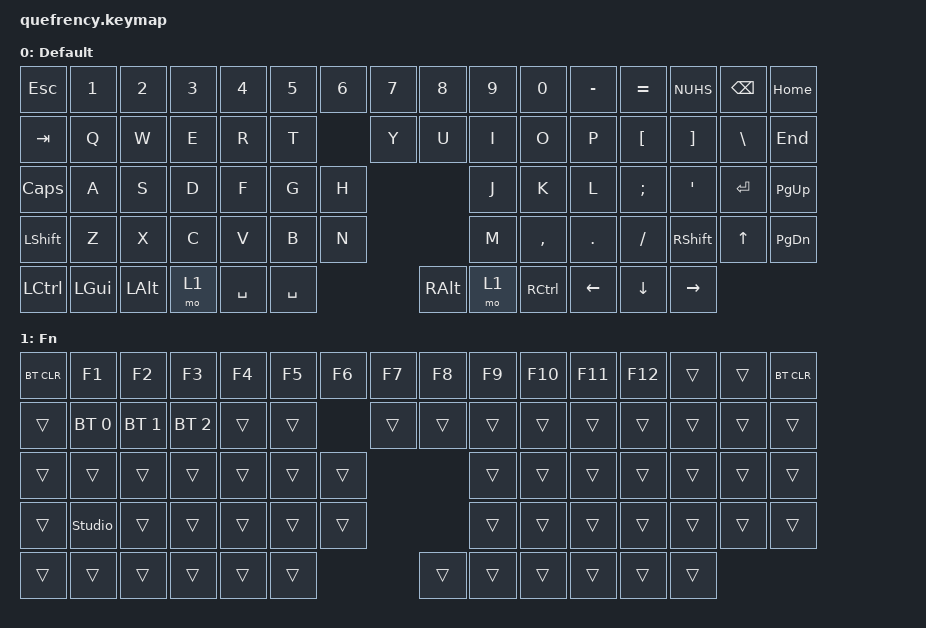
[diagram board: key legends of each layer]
/*
 * Copyright (c) 2020 The ZMK Contributors
 *
 * SPDX-License-Identifier: MIT
 */

#include <behaviors.dtsi>
#include <dt-bindings/zmk/bt.h>
#include <dt-bindings/zmk/keys.h>

/ {
    keymap {
        compatible = "zmk,keymap";

// ----------------------------------------------      -----------------------------------------------------
// | ESC  |  1   |  2  |  3   |  4  |  5  |  6  |      |  7  |  8  |  9  |  0  |  -  |  =  | # |BKSP|  `   |
// | TAB   |  Q   |  W  |  E   |  R  |  T  |        |  Y  |  U  |  I  |  O  |  P  |  [  |  ]  |  \  | DEL  |
// | LCTRL  |  A   |  S  |  D   |  F  |  G  |        |  H  |  J  |  K  |  L  |  ;  |  '  |   ENTER  | PGUP |
// | SHIFT   |  Z   |  X  |  C  |  V   |  B  |        |  N  |  M  |  ,  |  .  |  /  |  RSHFT  |  UP | PGDN |
// | LCTRL   | LGUI | LALT | FN  |   SPACE   |        |    SPACE    | RALT | FN | RCTRL | LFT | DWN | RGHT |
// -------------------------------------------        ------------------------------------------------------

        default_layer {
            display-name = "Default";
            bindings = <
    &kp ESC   &kp N1   &kp N2   &kp N3    &kp N4 &kp N5 &kp N6 /**/ &kp N7    &kp N8   &kp N9    &kp N0    &kp MINUS &kp EQUAL &kp NUHS  &kp BSPC &kp HOME 
    &kp TAB   &kp Q    &kp W    &kp E     &kp R  &kp T         /**/ &kp Y     &kp U    &kp I     &kp O     &kp P     &kp LBKT  &kp RBKT &kp BSLH &kp END
    &kp CAPS &kp A    &kp S    &kp D     &kp F  &kp G         /**/ &kp H     &kp J    &kp K     &kp L     &kp SEMI  &kp SQT   &kp RET           &kp PG_UP
    &kp LSHFT &kp Z    &kp X    &kp C     &kp V  &kp B         /**/ &kp N     &kp M    &kp COMMA &kp DOT   &kp FSLH  &kp RSHFT &kp UP            &kp PG_DN
    &kp LCTRL &kp LGUI &kp LALT &mo 1 &kp SPACE                /**/ &kp SPACE &kp RALT &mo 1     &kp RCTRL &kp LEFT  &kp DOWN  &kp RIGHT
            >;
        };

// ----------------------------------------------     -----------------------------------------------------
// |BT_CLR|  F1  |  F2 |  F3  |  F4 |  F5 |  F6 |     |  F7 |  F8 |  F9 | F10 | F11 | F12 |        |BT_CLR|
// |       | BT-0 | BT-1| BT-2 |     |     |       |     |     |     |     |     |     |     |     |      |
// |        |      |     |      |     |     |       |     |     |     |     |     |     |          |      |
// |         |      |     |     |      |     |       |     |     |     |     |     |         |     |      |
// |         |      |      |     |           |       |             |      |    |       |     |     |      |
// -------------------------------------------       ------------------------------------------------------

        fn_layer {
            display-name = "Fn";
            bindings = <
    &bt BT_CLR &kp F1       &kp F2       &kp F3       &kp F4 &kp F5 &kp F6 /**/ &kp F7 &kp F8 &kp F9 &kp F10 &kp F11 &kp F12 &trans &trans &bt BT_CLR
    &trans     &bt BT_SEL 0 &bt BT_SEL 1 &bt BT_SEL 2 &trans &trans        /**/ &trans &trans &trans &trans  &trans  &trans  &trans &trans &trans
    &trans     &trans       &trans       &trans       &trans &trans        /**/ &trans &trans &trans &trans  &trans  &trans  &trans &trans
    &trans     &studio_unlock &trans       &trans       &trans &trans        /**/ &trans &trans &trans &trans  &trans  &trans  &trans &trans
    &trans     &trans       &trans       &trans       &trans               /**/ &trans &trans &trans &trans  &trans  &trans  &trans
            >;
        };

        extra1 {
            display-name = "Fn1";
            status = "reserved";
        };

        extra2 {
            display-name = "Fn2";
            status = "reserved";
        };
    };
};

// vim: ft=dts
